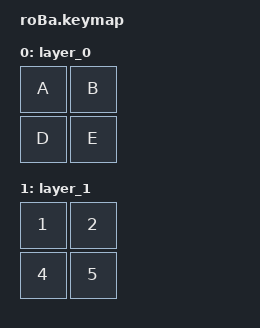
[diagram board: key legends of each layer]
#include <behaviors.dtsi>
#include <dt-bindings/zmk/keys.h>

/ {
    keymap {
        compatible = "zmk,keymap";

        layer_0 {
            bindings = <
&kp A  &kp B
&kp D  &kp E
            >;
        };

        layer_1 {
            bindings = <
&kp N1  &kp N2
&kp N4  &kp N5
            >;
        };
    };
};
